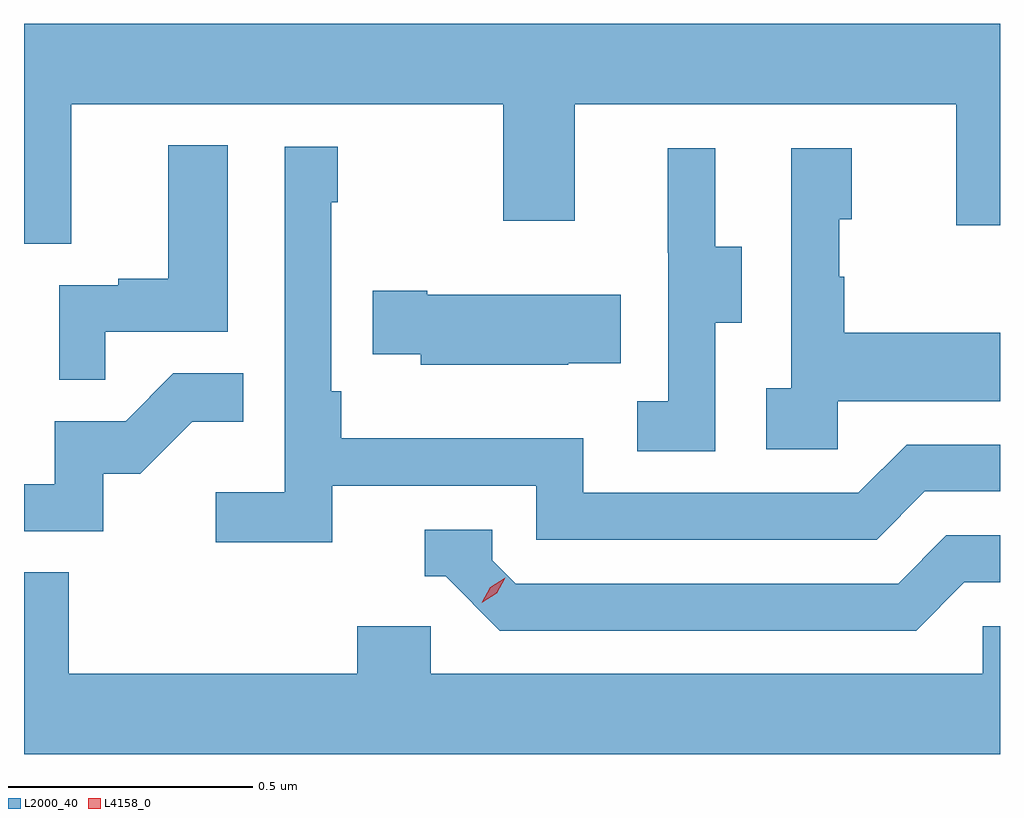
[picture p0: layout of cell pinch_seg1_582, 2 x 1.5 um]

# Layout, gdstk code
import gdstk
lib = gdstk.Library(unit=1e-6, precision=1e-09)
def P(c, l, *ps):  # polygons
    for p in ps: c.add(gdstk.Polygon(p, *l))
L2000_40 = (2000, 40)
L4158_0 = (4158, 0)

pinch_seg1_582 = lib.new_cell('pinch_seg1_582')
P(pinch_seg1_582, L2000_40, [(1014.091,513.104),(1014.976,513.104),(1014.976,512.865),(1015.123,512.865),(1015.123,513.104),(1015.904,513.104),(1015.904,512.856),(1015.994,512.856),(1015.994,513.268),(1013.994,513.268),(1013.994,512.818),(1014.091,512.818)],
  [(1014.161,512.637),(1014.412,512.637),(1014.412,513.019),(1014.29,513.019),(1014.29,512.746),(1014.187,512.746),(1014.187,512.733),(1014.066,512.733),(1014.066,512.539),(1014.161,512.539)],
  [(1014.626,512.322),(1015.044,512.322),(1015.044,512.211),(1015.741,512.211),(1015.84,512.31),(1015.994,512.31),(1015.994,512.406),(1015.803,512.406),(1015.704,512.307),(1015.14,512.307),(1015.14,512.419),(1014.644,512.419),(1014.644,512.515),(1014.624,512.515),(1014.624,512.903),(1014.637,512.903),(1014.637,513.016),(1014.528,513.016),(1014.528,512.308),(1014.387,512.308),(1014.387,512.206),(1014.626,512.206)],
  [(1015.662,512.495),(1015.994,512.495),(1015.994,512.635),(1015.675,512.635),(1015.675,512.75),(1015.665,512.75),(1015.665,512.868),(1015.69,512.868),(1015.69,513.013),(1015.566,513.013),(1015.566,512.522),(1015.515,512.522),(1015.515,512.397),(1015.662,512.397)],
  [(1015.41,512.656),(1015.465,512.656),(1015.465,512.811),(1015.411,512.811),(1015.411,513.013),(1015.313,513.013),(1015.313,512.799),(1015.314,512.799),(1015.314,512.495),(1015.251,512.495),(1015.251,512.392),(1015.41,512.392)],
  [(1015.109,512.573),(1015.217,512.573),(1015.217,512.713),(1014.82,512.713),(1014.82,512.721),(1014.709,512.721),(1014.709,512.591),(1014.807,512.591),(1014.807,512.57),(1015.109,512.57)],
  [(1014.156,512.346),(1014.232,512.346),(1014.339,512.453),(1014.443,512.453),(1014.443,512.552),(1014.3,512.552),(1014.202,512.454),(1014.057,512.454),(1014.057,512.325),(1013.994,512.325),(1013.994,512.229),(1014.156,512.229)],
  [(1015.921,512.124),(1015.994,512.124),(1015.994,512.22),(1015.884,512.22),(1015.785,512.121),(1015.002,512.121),(1014.954,512.169),(1014.954,512.232),(1014.815,512.232),(1014.815,512.136),(1014.858,512.136),(1014.969,512.025),(1015.822,512.025)],
  [(1015.994,512.034),(1015.959,512.034),(1015.959,511.936),(1014.828,511.936),(1014.828,512.034),(1014.677,512.034),(1014.677,511.936),(1014.086,511.936),(1014.086,512.144),(1013.994,512.144),(1013.994,511.772),(1015.994,511.772)])
P(pinch_seg1_582, L4158_0, [(1014.932,512.082),(1014.932,512.082),(1014.949,512.114),(1014.98,512.133),(1014.98,512.133),(1014.98,512.133),(1014.963,512.101),(1014.932,512.082)])

lib.write_gds('pinch_seg1_582.gds')
